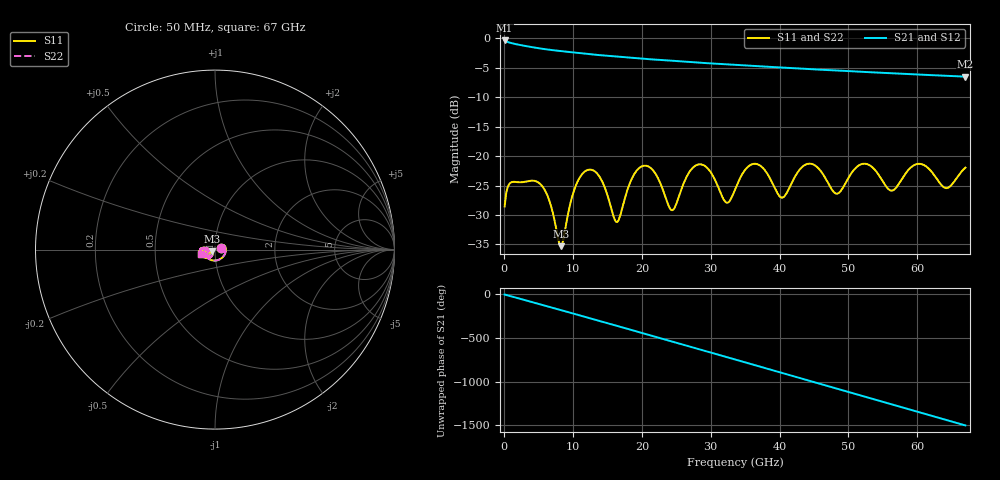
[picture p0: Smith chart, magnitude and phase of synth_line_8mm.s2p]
! Synthetic TW electrode, L = 8 mm
# HZ S RI R 50
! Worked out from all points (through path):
!   670 points, 50 MHz to 67 GHz, reference 50 ohm
!   highest |S21| = -0.37 dB at 50 MHz (marker M1); lowest = -6.5 dB at 67 GHz (marker M2)
!   group delay of S21, straight-line fit = 62.4 ps
!   lowest |S11| = -35.3 dB at 8.256 GHz (marker M3), VSWR 1.03, Z = 48.6 - j0.903 ohm
!   |S11| at or under -10 dB: start of sweep to end of sweep
!   |S22| runs from -35.3 to -21.3 dB; largest |S21 - S12| = 0
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5e7  0.0361 0.00912  0.9584 -0.0179  0.9584 -0.0179  0.0361 0.00912
4.05299e9  -0.0231 -0.0574  0.0309 -0.84  0.0309 -0.84  -0.0231 -0.0574
6.354709e9  -0.0446 -0.00617  -0.5979 -0.5346  -0.5979 -0.5346  -0.0446 -0.00617
8.256129e9  -0.0145 -0.00929  -0.7783 -0.000915  -0.7783 -0.000915  -0.0145 -0.00929
1.125837e10  -0.0521 -0.0461  -0.2986 0.6825  -0.2986 0.6825  -0.0521 -0.0461
1.356009e10  -0.0703 -0.00399  0.3316 0.6414  0.3316 0.6414  -0.0703 -0.00399
1.646226e10  -0.0258 -0.0104  0.6992 -0.0236  0.6992 -0.0236  -0.0258 -0.0104
1.956457e10  -0.0699 -0.0365  0.2156 -0.64  0.2156 -0.64  -0.0699 -0.0365
2.236667e10  -0.0638 0.00957  -0.4562 -0.4719  -0.4562 -0.4719  -0.0638 0.00957
2.506868e10  -0.0346 -0.0207  -0.6199 0.1637  -0.6199 0.1637  -0.0346 -0.0207
2.8171e10  -0.0818 -0.0225  -0.0581 0.6191  -0.0581 0.6191  -0.0818 -0.0225
3.117324e10  -0.0523 0.00883  0.5366 0.2834  0.5366 0.2834  -0.0523 0.00883
3.357504e10  -0.0454 -0.0271  0.5331 -0.2653  0.5331 -0.2653  -0.0454 -0.0271
3.657728e10  -0.085 -0.0123  -0.0425 -0.5784  -0.0425 -0.5784  -0.085 -0.0123
3.987975e10  -0.0465 0.000185  -0.5559 -0.1107  -0.5559 -0.1107  -0.0465 0.000185
4.478341e10  -0.0851 -0.00695  0.0911 0.5378  0.0911 0.5378  -0.0851 -0.00695
4.818595e10  -0.0479 -0.00489  0.5329 0.0325  0.5329 0.0325  -0.0479 -0.00489
5.158849e10  -0.0809 -0.0219  0.1477 -0.4992  0.1477 -0.4992  -0.0809 -0.0219
5.58917e10  -0.052 -0.00149  -0.5003 -0.0818  -0.5003 -0.0818  -0.052 -0.00149
6.059522e10  -0.0852 -0.00706  0.0604 0.4872  0.0604 0.4872  -0.0852 -0.00706
6.389768e10  -0.0542 -0.00217  0.4769 0.0699  0.4769 0.0699  -0.0542 -0.00217
6.7e10  -0.0765 -0.0226  0.2229 -0.4165  0.2229 -0.4165  -0.0765 -0.0226
